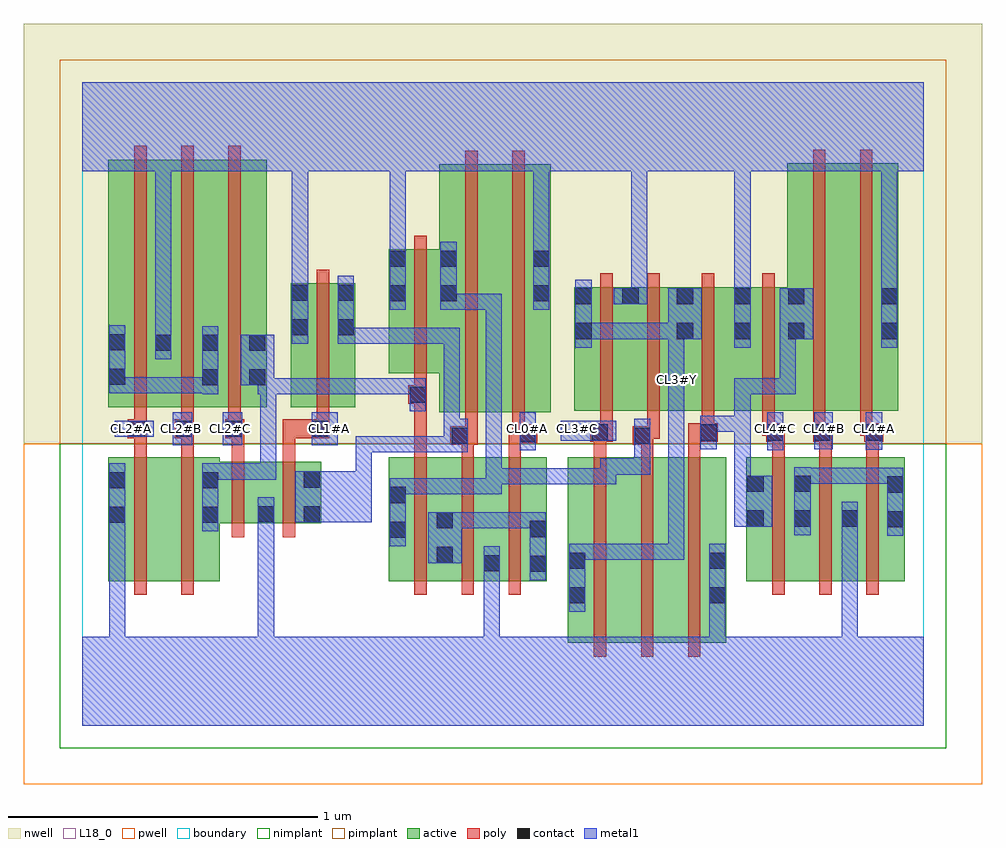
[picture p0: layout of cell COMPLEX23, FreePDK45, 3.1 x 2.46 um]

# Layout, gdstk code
import gdstk
lib = gdstk.Library(unit=1e-6, precision=1e-09)
def R(c, l, rs):  # rectangles x0, y0, x1, y1
    for r in rs: c.add(gdstk.rectangle(r[:2], r[2:], *l))
def A(c, l, x, y, w, h, nx, ny, dx, dy):  # array of equal rectangles
    R(c, l, [(x+i*dx, y+j*dy, x+i*dx+w, y+j*dy+h) for i in range(nx) for j in range(ny)])
active = (1, 0)
pwell = (2, 0)
nwell = (3, 0)
nimplant = (4, 0)
pimplant = (5, 0)
poly = (9, 0)
contact = (10, 0)
metal1 = (11, 0)
L18_0 = (18, 0)
boundary = (235, 0)

complex23 = lib.new_cell('COMPLEX23')
R(complex23, active, [(1.57,0.268,1.75,0.868), (1.57,0.268,1.654,0.868), (1.75,0.268,1.902,0.868), (1.902,0.268,2.082,0.868), (2.022,0.268,2.082,0.868), (0.084,0.468,0.144,0.868), (0.084,0.468,0.264,0.868), (0.264,0.468,0.444,0.868), (0.384,0.468,0.444,0.854), (0.99,0.468,1.05,0.868), (0.99,0.468,1.202,0.868), (1.142,0.468,1.354,0.868), (1.142,0.468,1.202,0.706), (1.294,0.468,1.502,0.868), (1.294,0.468,1.354,0.556), (1.442,0.468,1.502,0.868), (2.146,0.468,2.206,0.868), (2.146,0.468,2.358,0.868), (2.298,0.468,2.51,0.868), (2.298,0.468,2.358,0.812), (2.45,0.468,2.51,0.868), (2.45,0.468,2.658,0.868), (2.598,0.468,2.658,0.868), (0.384,0.654,0.624,0.854), (0.564,0.654,0.772,0.854), (0.564,0.654,0.624,0.714), (0.712,0.654,0.772,0.854), (1.154,1.014,1.334,1.814), (1.334,1.014,1.514,1.814), (1.454,1.014,1.514,1.756), (1.59,1.018,1.65,1.418), (1.59,1.018,1.802,1.418), (1.742,1.018,1.802,1.418), (1.742,1.018,1.978,1.418), (1.918,1.018,1.978,1.418), (1.918,1.018,2.164,1.418), (2.104,1.018,2.164,1.418), (2.104,1.018,2.338,1.418), (2.278,1.018,2.458,1.818), (2.278,1.018,2.338,1.724), (2.458,1.018,2.638,1.818), (2.578,1.018,2.638,1.756), (0.084,1.03,0.144,1.724), (0.084,1.03,0.292,1.83), (0.232,1.03,0.444,1.83), (0.232,1.03,0.292,1.756), (0.384,1.03,0.444,1.724), (0.384,1.03,0.596,1.83), (0.536,1.03,0.596,1.724), (0.674,1.03,0.734,1.43), (0.674,1.03,0.882,1.43), (0.822,1.03,0.882,1.43), (0.99,1.14,1.05,1.54), (0.99,1.14,1.214,1.54), (1.154,1.368,1.214,1.724)])
R(complex23, pwell, [(-0.188,-0.188,2.908,0.912)])
R(complex23, nwell, [(-0.188,0.912,2.908,2.268)])
R(complex23, nimplant, [(-0.072,-0.072,2.792,0.912)])
R(complex23, pimplant, [(-0.072,0.912,2.792,2.152)])
A(complex23, poly, 1.654, 0.224, 0.04, 0.688, 3, 1, 0.152, 0)
A(complex23, poly, 1.074, 0.424, 0.04, 0.488, 3, 1, 0.152, 0)
A(complex23, poly, 2.23, 0.424, 0.04, 0.488, 3, 1, 0.152, 0)
A(complex23, poly, 2.23, 0.872, 0.04, 0.086, 3, 1, 0.152, 0)
A(complex23, poly, 0.168, 0.95, 0.04, 0.076, 3, 1, 0.152, 0)
A(complex23, poly, 0.168, 0.986, 0.04, 0.888, 3, 1, 0.152, 0)
R(complex23, poly, [(0.168,0.424,0.208,0.912), (0.32,0.424,0.36,0.912), (0.484,0.61,0.524,0.898), (0.648,0.61,0.688,0.898), (0.484,0.858,0.524,0.97), (0.648,0.858,0.688,0.97), (0.168,0.872,0.208,0.97), (0.32,0.872,0.36,0.97), (1.074,0.872,1.114,1.08), (1.226,0.872,1.266,0.948), (1.378,0.872,1.418,0.954), (1.654,0.872,1.694,0.958), (1.806,0.872,1.846,0.948), (1.958,0.872,1.998,0.958), (1.19,0.908,1.278,0.968), (1.226,0.908,1.266,0.948), (1.226,0.908,1.266,0.948), (1.78,0.908,1.846,0.968), (1.378,0.914,1.43,0.954), (1.39,0.914,1.43,0.954), (1.39,0.914,1.47,0.974), (1.642,0.918,1.714,0.978), (1.654,0.918,1.694,0.958), (1.654,0.918,1.694,0.958), (1.958,0.918,2.054,0.978), (2.21,0.918,2.27,0.978), (2.362,0.918,2.422,0.978), (2.382,0.918,2.422,0.958), (2.382,0.918,2.422,0.958), (2.528,0.918,2.588,0.978), (1.238,0.928,1.278,1.01), (1.806,0.928,1.846,0.968), (1.806,0.928,1.866,0.968), (1.826,0.928,1.866,1.014), (0.148,0.93,0.208,0.99), (0.168,0.93,0.208,0.97), (0.168,0.93,0.208,0.97), (0.3,0.93,0.36,0.99), (0.462,0.93,0.524,0.99), (0.648,0.93,0.798,0.99), (1.39,0.934,1.43,1.01), (1.674,0.938,1.714,1.014), (2.002,0.938,2.042,1.014), (2.002,0.938,2.042,0.978), (2.002,0.938,2.042,0.978), (2.198,0.938,2.238,1.014), (2.198,0.938,2.25,0.978), (2.21,0.938,2.25,0.978), (2.362,0.938,2.402,1.014), (2.514,0.938,2.554,1.014), (2.514,0.938,2.568,0.978), (2.528,0.938,2.568,0.978), (0.32,0.95,0.36,0.99), (0.32,0.95,0.36,0.99), (0.472,0.95,0.512,0.99), (0.472,0.95,0.512,0.99), (0.758,0.95,0.798,1.026), (0.758,0.95,0.798,0.99), (0.758,0.95,0.798,0.99), (1.238,0.97,1.278,1.858), (1.39,0.97,1.43,1.858), (1.674,0.974,1.714,1.462), (1.826,0.974,1.866,1.462), (2.002,0.974,2.042,1.462), (2.198,0.974,2.238,1.462), (2.362,0.974,2.402,1.862), (2.514,0.974,2.554,1.862), (0.758,0.986,0.798,1.474), (1.054,1.04,1.114,1.1), (1.074,1.04,1.114,1.08), (1.074,1.04,1.114,1.08), (1.074,1.06,1.114,1.136), (1.074,1.096,1.114,1.584)])
A(complex23, contact, 2.15, 0.644, 0.052, 0.052, 3, 1, 0.152, 0)
A(complex23, contact, 0.236, 1.212, 0.052, 0.052, 3, 1, 0.152, 0)
R(complex23, contact, [(1.574,0.396,1.626,0.448), (2.026,0.396,2.078,0.448), (1.446,0.498,1.498,0.55), (1.298,0.5,1.35,0.552), (1.574,0.508,1.626,0.56), (2.026,0.508,2.078,0.56), (1.146,0.526,1.198,0.578), (0.994,0.608,1.046,0.66), (1.446,0.61,1.498,0.662), (1.146,0.638,1.198,0.69), (2.602,0.642,2.654,0.694), (0.088,0.656,0.14,0.708), (0.388,0.656,0.44,0.708), (0.568,0.658,0.62,0.71), (0.716,0.658,0.768,0.71), (0.994,0.72,1.046,0.772), (2.602,0.754,2.654,0.806), (2.15,0.756,2.202,0.808), (2.302,0.756,2.354,0.808), (0.088,0.768,0.14,0.82), (0.388,0.768,0.44,0.82), (0.716,0.77,0.768,0.822), (1.194,0.912,1.246,0.964), (1.784,0.912,1.836,0.964), (1.414,0.918,1.466,0.97), (1.646,0.922,1.698,0.974), (1.998,0.922,2.05,0.974), (2.214,0.922,2.266,0.974), (2.366,0.922,2.418,0.974), (2.532,0.922,2.584,0.974), (0.152,0.934,0.204,0.986), (0.304,0.934,0.356,0.986), (0.466,0.934,0.518,0.986), (0.742,0.934,0.794,0.986), (1.058,1.044,1.11,1.096), (0.388,1.1,0.44,1.152), (0.54,1.1,0.592,1.152), (0.088,1.102,0.14,1.154), (0.088,1.214,0.14,1.266), (1.594,1.25,1.646,1.302), (1.922,1.25,1.974,1.302), (2.108,1.25,2.16,1.302), (2.282,1.25,2.334,1.302), (2.582,1.25,2.634,1.302), (0.678,1.262,0.73,1.314), (0.826,1.262,0.878,1.314), (1.594,1.362,1.646,1.414), (1.746,1.362,1.798,1.414), (1.922,1.362,1.974,1.414), (2.108,1.362,2.16,1.414), (2.282,1.362,2.334,1.414), (2.582,1.362,2.634,1.414), (0.994,1.372,1.046,1.424), (1.158,1.372,1.21,1.424), (1.458,1.372,1.51,1.424), (0.678,1.374,0.73,1.426), (0.826,1.374,0.878,1.426), (0.994,1.484,1.046,1.536), (1.158,1.484,1.21,1.536), (1.458,1.484,1.51,1.536)])
R(complex23, metal1, [(0,0,2.72,0.288), (0.088,0.236,0.14,0.68), (0.568,0.236,0.62,0.288), (0.568,0.236,0.62,0.288), (0.568,0.236,0.62,0.288), (0.568,0.236,0.62,0.288), (0.568,0.236,0.62,0.288), (0.568,0.236,0.62,0.288), (0.568,0.236,0.62,0.682), (1.298,0.236,1.35,0.524), (2.026,0.236,2.078,0.42), (2.454,0.236,2.506,0.288), (2.454,0.236,2.506,0.288), (2.454,0.236,2.506,0.668), (1.574,0.368,1.626,0.588), (2.026,0.368,2.078,0.588), (1.446,0.47,1.498,0.69), (1.298,0.472,1.35,0.524), (1.298,0.472,1.35,0.524), (1.298,0.472,1.35,0.58), (1.118,0.526,1.226,0.69), (1.574,0.536,1.626,0.588), (1.574,0.536,1.626,0.588), (1.574,0.536,1.836,0.588), (1.784,0.536,1.836,0.588), (1.784,0.536,1.836,0.588), (1.784,0.536,1.836,0.588), (1.784,0.536,1.946,0.588), (1.894,0.536,1.946,0.588), (1.894,0.536,1.946,1.118), (0.994,0.58,1.046,0.8), (2.602,0.614,2.654,0.834), (2.302,0.616,2.354,0.836), (2.454,0.616,2.506,0.724), (0.088,0.628,0.14,0.848), (0.088,0.628,0.14,0.68), (0.088,0.628,0.14,0.68), (0.388,0.628,0.44,0.848), (0.568,0.63,0.62,0.738), (1.174,0.638,1.226,0.69), (1.174,0.638,1.226,0.69), (1.174,0.638,1.356,0.69), (1.304,0.638,1.356,0.69), (1.304,0.638,1.356,0.69), (1.304,0.638,1.356,0.69), (1.304,0.638,1.498,0.69), (2.108,0.644,2.23,0.808), (0.688,0.658,0.936,0.822), (0.994,0.748,1.046,0.8), (0.994,0.748,1.046,0.8), (0.994,0.748,1.24,0.8), (1.188,0.748,1.24,0.8), (1.188,0.748,1.24,0.8), (1.188,0.748,1.24,0.8), (1.188,0.748,1.356,0.8), (1.304,0.748,1.356,0.8), (1.304,0.748,1.356,0.832), (2.108,0.756,2.16,1.002), (0.884,0.77,0.936,0.936), (1.304,0.78,1.356,0.832), (1.304,0.78,1.356,0.832), (1.304,0.78,1.356,0.832), (1.304,0.78,1.466,0.832), (1.304,0.78,1.356,1.396), (1.414,0.78,1.466,0.832), (1.414,0.78,1.466,0.832), (1.414,0.78,1.466,0.832), (1.414,0.78,1.726,0.832), (1.674,0.78,1.726,0.864), (2.302,0.782,2.474,0.834), (2.422,0.782,2.474,0.834), (2.422,0.782,2.474,0.834), (2.422,0.782,2.474,0.834), (2.422,0.782,2.654,0.834), (2.602,0.782,2.654,0.834), (2.602,0.782,2.654,0.834), (0.388,0.796,0.44,0.848), (0.388,0.796,0.44,0.848), (0.388,0.796,0.628,0.848), (0.576,0.796,0.628,0.848), (0.576,0.796,0.628,1.124), (1.674,0.812,1.836,0.864), (1.784,0.812,1.836,0.936), (0.884,0.884,0.936,0.936), (0.884,0.884,1.046,0.936), (0.994,0.884,1.046,0.936), (0.994,0.884,1.046,0.936), (0.994,0.884,1.046,0.936), (0.994,0.884,1.22,0.936), (1.168,0.884,1.22,0.936), (1.168,0.884,1.22,0.936), (1.168,0.884,1.22,0.936), (1.168,0.884,1.246,0.936), (1.168,0.884,1.22,1.286), (1.194,0.884,1.246,0.992), (1.784,0.884,1.836,0.936), (1.784,0.884,1.836,0.992), (1.414,0.89,1.466,1.014), (2.214,0.89,2.266,1.014), (2.532,0.892,2.586,1.014), (1.998,0.894,2.05,1.002), (2.366,0.894,2.426,1.014), (0.292,0.906,0.356,1.014), (0.454,0.906,0.518,1.014), (0.742,0.906,0.826,1.014), (1.546,0.922,1.726,0.986), (0.106,0.934,0.232,0.986), (1.998,0.95,2.056,1.002), (2.004,0.95,2.056,1.002), (2.004,0.95,2.16,1.002), (2.108,0.95,2.16,1.002), (2.108,0.95,2.16,1.124), (1.058,1.016,1.11,1.124), (1.894,1.066,1.946,1.174), (0.388,1.072,0.44,1.292), (0.568,1.072,0.62,1.152), (0.568,1.072,0.628,1.124), (0.576,1.072,0.628,1.124), (0.576,1.072,0.628,1.124), (0.576,1.072,0.628,1.124), (0.576,1.072,0.628,1.124), (0.576,1.072,0.826,1.124), (0.774,1.072,0.826,1.124), (0.774,1.072,0.936,1.124), (0.884,1.072,0.936,1.124), (0.884,1.072,0.936,1.124), (0.884,1.072,0.936,1.124), (0.884,1.072,1.11,1.124), (2.108,1.072,2.16,1.124), (2.108,1.072,2.306,1.124), (2.254,1.072,2.306,1.124), (2.254,1.072,2.306,1.124), (2.254,1.072,2.306,1.124), (2.254,1.072,2.306,1.302), (0.088,1.074,0.14,1.294), (0.088,1.074,0.14,1.126), (0.088,1.074,0.14,1.126), (0.088,1.074,0.25,1.126), (0.198,1.074,0.25,1.126), (0.198,1.074,0.25,1.126), (0.198,1.074,0.25,1.126), (0.198,1.074,0.44,1.126), (0.512,1.1,0.62,1.264), (1.894,1.122,1.946,1.302), (0.236,1.184,0.288,1.292), (1.594,1.222,1.646,1.442), (2.108,1.222,2.16,1.442), (2.582,1.222,2.634,1.442), (0.678,1.234,0.73,1.454), (0.826,1.234,0.878,1.454), (0.826,1.234,1.06,1.286), (1.008,1.234,1.06,1.286), (1.008,1.234,1.06,1.286), (1.008,1.234,1.06,1.286), (1.008,1.234,1.22,1.286), (1.168,1.234,1.22,1.286), (0.236,1.24,0.288,1.844), (1.594,1.25,1.646,1.302), (1.594,1.25,1.646,1.302), (1.594,1.25,1.836,1.302), (1.784,1.25,1.836,1.302), (1.784,1.25,1.836,1.302), (1.784,1.25,1.836,1.302), (1.784,1.25,1.946,1.302), (1.894,1.25,1.946,1.302), (1.894,1.25,1.946,1.302), (1.894,1.25,2.002,1.414), (2.254,1.25,2.362,1.414), (0.994,1.344,1.046,1.564), (1.158,1.344,1.21,1.564), (1.158,1.344,1.246,1.396), (1.194,1.344,1.246,1.396), (1.194,1.344,1.356,1.396), (1.304,1.344,1.356,1.396), (1.304,1.344,1.356,1.396), (1.304,1.344,1.356,1.396), (1.304,1.344,1.356,1.396), (1.304,1.344,1.356,1.396), (1.458,1.344,1.51,1.564), (1.718,1.362,1.826,1.414), (1.774,1.362,1.826,1.414), (1.774,1.362,1.826,1.414), (1.774,1.362,1.826,1.844), (2.108,1.39,2.16,1.844), (2.582,1.39,2.634,1.844), (0.678,1.402,0.73,1.844), (0.994,1.512,1.046,1.564), (0.994,1.512,1.046,1.564), (0.994,1.512,1.046,1.564), (0.994,1.512,1.046,1.564), (0.994,1.512,1.046,1.564), (0.994,1.512,1.046,1.564), (0.994,1.512,1.046,1.564), (0.994,1.512,1.046,1.564), (0.994,1.512,1.046,1.844), (1.458,1.512,1.51,1.844), (0,1.792,2.72,2.08), (0.678,1.792,0.73,1.844), (0.678,1.792,0.73,1.844), (0.678,1.792,0.73,1.844), (0.678,1.792,0.73,1.844), (0.678,1.792,0.73,1.844), (0.678,1.792,0.73,1.844), (0.678,1.792,0.73,1.844), (0.678,1.792,0.73,1.844), (1.774,1.792,1.826,1.844), (1.774,1.792,1.826,1.844), (1.774,1.792,1.826,1.844), (1.774,1.792,1.826,1.844), (1.774,1.792,1.826,1.844), (1.774,1.792,1.826,1.844), (2.108,1.792,2.16,1.844), (2.108,1.792,2.16,1.844), (2.108,1.792,2.16,1.844), (2.108,1.792,2.16,1.844), (2.108,1.792,2.16,1.844), (2.108,1.792,2.16,1.844), (2.108,1.792,2.16,1.844), (2.108,1.792,2.16,1.844)])
A(complex23, L18_0, 0.134, 0.934, 0.052, 0.052, 3, 1, 0.16, 0)
A(complex23, L18_0, 2.214, 0.934, 0.052, 0.052, 3, 1, 0.16, 0)
R(complex23, L18_0, [(0,0,2.72,0.288), (0.088,0.236,0.14,0.68), (0.568,0.236,0.62,0.288), (0.568,0.236,0.62,0.288), (0.568,0.236,0.62,0.288), (0.568,0.236,0.62,0.288), (0.568,0.236,0.62,0.288), (0.568,0.236,0.62,0.288), (0.568,0.236,0.62,0.682), (1.298,0.236,1.35,0.524), (2.026,0.236,2.078,0.42), (2.454,0.236,2.506,0.288), (2.454,0.236,2.506,0.288), (2.454,0.236,2.506,0.668), (1.574,0.368,1.626,0.588), (2.026,0.368,2.078,0.588), (1.298,0.472,1.35,0.524), (1.298,0.472,1.35,0.524), (1.298,0.472,1.35,0.58), (1.574,0.536,1.626,0.588), (1.574,0.536,1.626,0.588), (1.574,0.536,1.836,0.588), (1.784,0.536,1.836,0.588), (1.784,0.536,1.836,0.588), (1.784,0.536,1.836,0.588), (1.784,0.536,1.946,0.588), (1.894,0.536,1.946,0.588), (1.894,0.536,1.946,1.118), (2.454,0.616,2.506,0.724), (0.088,0.628,0.14,0.68), (0.088,0.628,0.14,0.68), (0.088,0.628,0.14,0.848), (0.568,0.63,0.62,0.738), (1.414,0.89,1.466,1.014), (2.214,0.89,2.266,1.014), (2.532,0.892,2.586,1.014), (2.366,0.894,2.426,1.014), (0.292,0.906,0.356,1.014), (0.454,0.906,0.518,1.014), (0.742,0.906,0.826,1.014), (1.546,0.922,1.726,0.986), (0.106,0.934,0.232,0.986), (0.774,0.934,0.826,0.986), (1.414,0.934,1.466,0.986), (1.574,0.934,1.626,0.986), (1.894,1.066,1.946,1.174), (1.894,1.094,1.946,1.146), (1.894,1.122,1.946,1.302), (0.236,1.184,0.288,1.292), (1.594,1.222,1.646,1.442), (2.108,1.222,2.16,1.442), (2.582,1.222,2.634,1.442), (0.678,1.234,0.73,1.454), (0.236,1.24,0.288,1.844), (1.594,1.25,1.646,1.302), (1.594,1.25,1.646,1.302), (1.594,1.25,1.836,1.302), (1.784,1.25,1.836,1.302), (1.784,1.25,1.836,1.302), (1.784,1.25,1.836,1.302), (1.784,1.25,1.946,1.302), (1.894,1.25,1.946,1.302), (1.894,1.25,1.946,1.302), (1.894,1.25,2.002,1.414), (0.994,1.344,1.046,1.564), (1.458,1.344,1.51,1.564), (1.718,1.362,1.826,1.414), (1.774,1.362,1.826,1.414), (1.774,1.362,1.826,1.414), (1.774,1.362,1.826,1.844), (2.108,1.39,2.16,1.844), (2.582,1.39,2.634,1.844), (0.678,1.402,0.73,1.844), (0.994,1.512,1.046,1.564), (0.994,1.512,1.046,1.564), (0.994,1.512,1.046,1.564), (0.994,1.512,1.046,1.564), (0.994,1.512,1.046,1.564), (0.994,1.512,1.046,1.564), (0.994,1.512,1.046,1.564), (0.994,1.512,1.046,1.564), (0.994,1.512,1.046,1.844), (1.458,1.512,1.51,1.844), (0,1.792,2.72,2.08), (0.678,1.792,0.73,1.844), (0.678,1.792,0.73,1.844), (0.678,1.792,0.73,1.844), (0.678,1.792,0.73,1.844), (0.678,1.792,0.73,1.844), (0.678,1.792,0.73,1.844), (0.678,1.792,0.73,1.844), (0.678,1.792,0.73,1.844), (1.774,1.792,1.826,1.844), (1.774,1.792,1.826,1.844), (1.774,1.792,1.826,1.844), (1.774,1.792,1.826,1.844), (1.774,1.792,1.826,1.844), (1.774,1.792,1.826,1.844), (2.108,1.792,2.16,1.844), (2.108,1.792,2.16,1.844), (2.108,1.792,2.16,1.844), (2.108,1.792,2.16,1.844), (2.108,1.792,2.16,1.844), (2.108,1.792,2.16,1.844), (2.108,1.792,2.16,1.844), (2.108,1.792,2.16,1.844)])
R(complex23, boundary, [(0,0,2.72,2.08)])
complex23.add(gdstk.Label('CL0#A', (1.44,0.96), layer=11, texttype=0))
complex23.add(gdstk.Label('CL1#A', (0.8,0.96), layer=11, texttype=0))
complex23.add(gdstk.Label('CL2#A', (0.16,0.96), layer=11, texttype=0))
complex23.add(gdstk.Label('CL2#B', (0.32,0.96), layer=11, texttype=0))
complex23.add(gdstk.Label('CL2#C', (0.48,0.96), layer=11, texttype=0))
complex23.add(gdstk.Label('CL3#C', (1.6,0.96), layer=11, texttype=0))
complex23.add(gdstk.Label('CL3#Y', (1.92,1.12), layer=11, texttype=0))
complex23.add(gdstk.Label('CL4#A', (2.56,0.96), layer=11, texttype=0))
complex23.add(gdstk.Label('CL4#B', (2.4,0.96), layer=11, texttype=0))
complex23.add(gdstk.Label('CL4#C', (2.24,0.96), layer=11, texttype=0))

lib.write_gds('COMPLEX23.gds')
